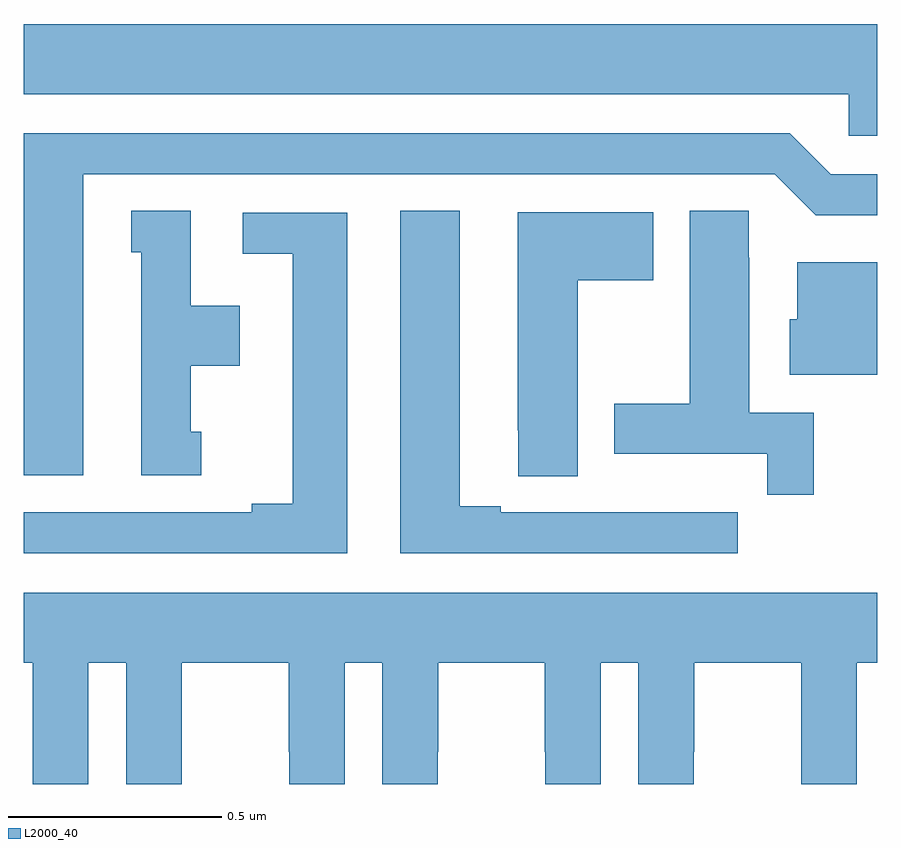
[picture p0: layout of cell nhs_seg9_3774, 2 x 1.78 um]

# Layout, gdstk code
import gdstk
lib = gdstk.Library(unit=1e-6, precision=1e-09)
def P(c, l, *ps):  # polygons
    for p in ps: c.add(gdstk.Polygon(p, *l))
L2000_40 = (2000, 40)

nhs_seg9_3774 = lib.new_cell('nhs_seg9_3774')
P(nhs_seg9_3774, L2000_40, [(160,1167.28),(158,1167.28),(158,1167.116),(159.933,1167.116),(159.933,1167.018),(160,1167.018)],
  [(158.14,1166.928),(159.759,1166.928),(159.855,1166.832),(160,1166.832),(160,1166.928),(159.891,1166.928),(159.795,1167.024),(158,1167.024),(158,1166.223),(158.14,1166.223)],
  [(159.851,1166.37),(159.7,1166.37),(159.7,1166.732),(159.699,1166.732),(159.699,1166.843),(159.56,1166.843),(159.56,1166.391),(159.383,1166.391),(159.383,1166.274),(159.742,1166.274),(159.742,1166.178),(159.851,1166.178)],
  [(159.673,1166.136),(159.56,1166.136),(159.56,1166.137),(159.394,1166.137),(159.394,1166.136),(159.118,1166.136),(159.118,1166.151),(159.022,1166.151),(159.022,1166.843),(158.882,1166.843),(158.882,1166.04),(159.673,1166.04)],
  [(158.416,1166.325),(158.392,1166.325),(158.392,1166.48),(158.506,1166.48),(158.506,1166.62),(158.392,1166.62),(158.392,1166.843),(158.252,1166.843),(158.252,1166.745),(158.276,1166.745),(158.276,1166.223),(158.416,1166.223)],
  [(159.298,1166.68),(159.475,1166.68),(159.475,1166.839),(159.158,1166.839),(159.158,1166.329),(159.159,1166.329),(159.159,1166.221),(159.298,1166.221)],
  [(158.758,1166.838),(158.514,1166.838),(158.514,1166.742),(158.63,1166.742),(158.63,1166.156),(158.534,1166.156),(158.534,1166.136),(158,1166.136),(158,1166.04),(158.758,1166.04)],
  [(160,1166.722),(159.812,1166.722),(159.812,1166.589),(159.794,1166.589),(159.794,1166.459),(160,1166.459)],
  [(158.152,1165.784),(158.24,1165.784),(158.24,1165.5),(158.37,1165.5),(158.37,1165.576),(158.371,1165.576),(158.371,1165.784),(158.621,1165.784),(158.621,1165.576),(158.622,1165.576),(158.622,1165.5),(158.752,1165.5),(158.752,1165.784),(158.84,1165.784),(158.84,1165.5),(158.97,1165.5),(158.97,1165.576),(158.971,1165.576),(158.971,1165.784),(159.221,1165.784),(159.221,1165.576),(159.222,1165.576),(159.222,1165.5),(159.352,1165.5),(159.352,1165.784),(159.44,1165.784),(159.44,1165.5),(159.57,1165.5),(159.57,1165.576),(159.571,1165.576),(159.571,1165.784),(159.821,1165.784),(159.821,1165.576),(159.822,1165.576),(159.822,1165.5),(159.952,1165.5),(159.952,1165.784),(160,1165.784),(160,1165.948),(158,1165.948),(158,1165.784),(158.021,1165.784),(158.021,1165.576),(158.022,1165.576),(158.022,1165.5),(158.152,1165.5)])

lib.write_gds('nhs_seg9_3774.gds')
